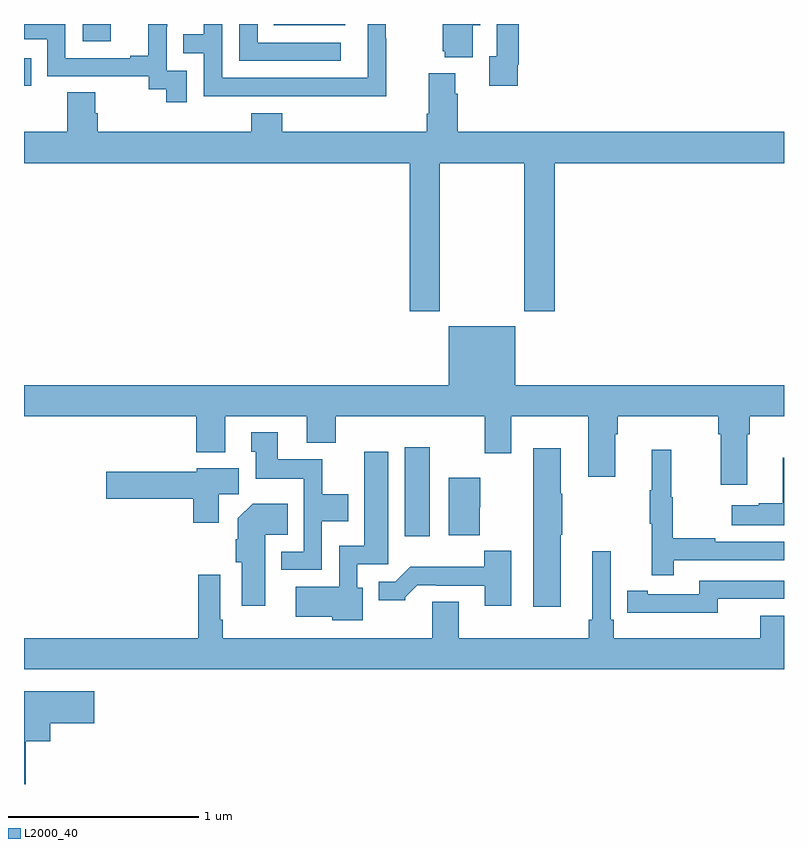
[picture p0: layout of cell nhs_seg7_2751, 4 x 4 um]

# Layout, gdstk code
import gdstk
lib = gdstk.Library(unit=1e-6, precision=1e-09)
def R(c, l, rs):  # rectangles x0, y0, x1, y1
    for r in rs: c.add(gdstk.rectangle(r[:2], r[2:], *l))
def P(c, l, *ps):  # polygons
    for p in ps: c.add(gdstk.Polygon(p, *l))
L2000_40 = (2000, 40)

nhs_seg7_2751 = lib.new_cell('nhs_seg7_2751')
R(nhs_seg7_2751, L2000_40, [(291.005,1013.304,291.136,1013.773), (289,1015.674,289.037,1015.821), (289.308,1015.908,289.456,1016), (290.314,1015.994,290.692,1016)])
P(nhs_seg7_2751, L2000_40, [(291.361,1015.994),(291.4,1015.994),(291.4,1016),(291.203,1016),(291.203,1015.857),(291.215,1015.857),(291.215,1015.826),(291.361,1015.826)],
  [(291.598,1015.786),(291.605,1015.786),(291.605,1016),(291.489,1016),(291.489,1015.83),(291.449,1015.83),(291.449,1015.674),(291.598,1015.674)],
  [(290.668,1015.902),(290.229,1015.902),(290.229,1016),(290.133,1016),(290.133,1015.806),(290.668,1015.806)],
  [(289.857,1015.755),(289.752,1015.755),(289.752,1015.985),(289.754,1015.985),(289.754,1016),(289.655,1016),(289.655,1015.834),(289.559,1015.834),(289.559,1015.821),(289.218,1015.821),(289.218,1016),(289,1016),(289,1015.92),(289.122,1015.92),(289.122,1015.725),(289.656,1015.725),(289.656,1015.657),(289.749,1015.657),(289.749,1015.587),(289.857,1015.587)],
  [(290.907,1015.925),(290.904,1015.925),(290.904,1016),(290.808,1016),(290.808,1015.716),(290.043,1015.716),(290.043,1016),(289.947,1016),(289.947,1015.946),(289.837,1015.946),(289.837,1015.845),(289.947,1015.845),(289.947,1015.62),(290.443,1015.62),(290.443,1015.619),(290.907,1015.619)],
  [(291.271,1015.634),(291.271,1015.741),(291.131,1015.741),(291.131,1015.528),(291.119,1015.528),(291.119,1015.432),(290.36,1015.432),(290.36,1015.531),(290.195,1015.531),(290.195,1015.432),(289.388,1015.432),(289.388,1015.53),(289.375,1015.53),(289.375,1015.64),(289.228,1015.64),(289.228,1015.432),(289,1015.432),(289,1015.268),(291.029,1015.268),(291.029,1014.489),(291.189,1014.489),(291.189,1015.268),(291.634,1015.268),(291.634,1014.489),(291.794,1014.489),(291.794,1015.268),(293,1015.268),(293,1015.432),(291.284,1015.432),(291.284,1015.634)],
  [(292.807,1013.84),(292.82,1013.84),(292.82,1013.936),(293,1013.936),(293,1014.1),(291.586,1014.1),(291.586,1014.409),(291.236,1014.409),(291.236,1014.1),(289,1014.1),(289,1013.936),(289.907,1013.936),(289.907,1013.747),(290.059,1013.747),(290.059,1013.936),(290.489,1013.936),(290.489,1013.795),(290.642,1013.795),(290.642,1013.936),(291.425,1013.936),(291.425,1013.742),(291.565,1013.742),(291.565,1013.936),(291.971,1013.936),(291.971,1013.616),(292.111,1013.616),(292.111,1013.84),(292.124,1013.84),(292.124,1013.936),(292.655,1013.936),(292.655,1013.84),(292.667,1013.84),(292.667,1013.574),(292.807,1013.574)],
  [(290.568,1013.384),(290.707,1013.384),(290.707,1013.524),(290.571,1013.524),(290.571,1013.71),(290.335,1013.71),(290.335,1013.851),(290.195,1013.851),(290.195,1013.748),(290.219,1013.748),(290.219,1013.606),(290.472,1013.606),(290.472,1013.223),(290.355,1013.223),(290.355,1013.127),(290.568,1013.127)],
  [(291.826,1013.311),(291.834,1013.311),(291.834,1013.528),(291.826,1013.528),(291.826,1013.767),(291.68,1013.767),(291.68,1012.932),(291.826,1012.932)],
  [(292.421,1013.178),(293,1013.178),(293,1013.274),(292.637,1013.274),(292.637,1013.294),(292.414,1013.294),(292.414,1013.508),(292.406,1013.508),(292.406,1013.758),(292.304,1013.758),(292.304,1013.545),(292.293,1013.545),(292.293,1013.371),(292.304,1013.371),(292.304,1013.1),(292.421,1013.1)],
  [(290.782,1013.034),(290.754,1013.034),(290.754,1013.157),(290.917,1013.157),(290.917,1013.749),(290.792,1013.749),(290.792,1013.254),(290.658,1013.254),(290.658,1013.038),(290.43,1013.038),(290.43,1012.88),(290.622,1012.88),(290.622,1012.862),(290.782,1012.862)],
  [(293,1013.716),(292.994,1013.716),(292.994,1013.477),(292.868,1013.477),(292.868,1013.467),(292.725,1013.467),(292.725,1013.363),(293,1013.363)],
  [(290.026,1013.524),(290.131,1013.524),(290.131,1013.662),(289.908,1013.662),(289.908,1013.643),(289.434,1013.643),(289.434,1013.501),(289.892,1013.501),(289.892,1013.376),(290.026,1013.376)],
  [(291.398,1013.457),(291.4,1013.457),(291.4,1013.611),(291.236,1013.611),(291.236,1013.309),(291.398,1013.309)],
  [(290.269,1013.312),(290.387,1013.312),(290.387,1013.476),(290.204,1013.476),(290.126,1013.398),(290.126,1013.288),(290.114,1013.288),(290.114,1013.166),(290.147,1013.166),(290.147,1012.938),(290.269,1012.938)],
  [(291.565,1013.227),(291.423,1013.227),(291.423,1013.143),(291.034,1013.143),(290.955,1013.064),(290.867,1013.064),(290.867,1012.967),(291.006,1012.967),(291.006,1012.982),(291.07,1013.046),(291.169,1013.046),(291.169,1013.043),(291.425,1013.043),(291.425,1012.938),(291.565,1012.938)],
  [(293,1012.885),(292.874,1012.885),(292.874,1012.768),(292.103,1012.768),(292.103,1012.864),(292.089,1012.864),(292.089,1013.224),(291.992,1013.224),(291.992,1012.864),(291.973,1012.864),(291.973,1012.768),(291.289,1012.768),(291.289,1012.958),(291.149,1012.958),(291.149,1012.768),(290.047,1012.768),(290.047,1012.864),(290.034,1012.864),(290.034,1013.101),(289.918,1013.101),(289.918,1012.768),(289,1012.768),(289,1012.604),(293,1012.604)],
  [(292.65,1012.974),(293,1012.974),(293,1013.07),(292.554,1013.07),(292.554,1012.998),(292.282,1012.998),(292.282,1013.018),(292.174,1013.018),(292.174,1012.902),(292.282,1012.902),(292.282,1012.901),(292.65,1012.901)],
  [(289.009,1012.226),(289.138,1012.226),(289.138,1012.319),(289.369,1012.319),(289.369,1012.489),(289,1012.489),(289,1012),(289.009,1012)])

lib.write_gds('nhs_seg7_2751.gds')
